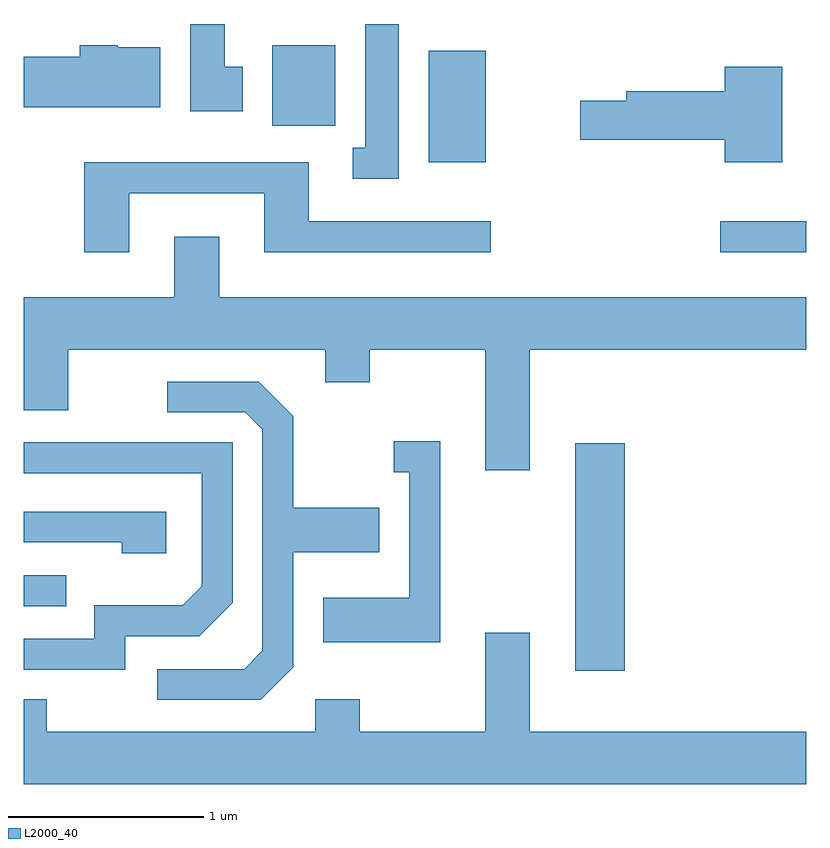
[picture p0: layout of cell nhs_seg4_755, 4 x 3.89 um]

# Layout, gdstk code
import gdstk
lib = gdstk.Library(unit=1e-6, precision=1e-09)
def R(c, l, rs):  # rectangles x0, y0, x1, y1
    for r in rs: c.add(gdstk.rectangle(r[:2], r[2:], *l))
def P(c, l, *ps):  # polygons
    for p in ps: c.add(gdstk.Polygon(p, *l))
L2000_40 = (2000, 40)

nhs_seg4_755 = lib.new_cell('nhs_seg4_755')
R(nhs_seg4_755, L2000_40, [(210.431,1268.676,210.684,1269.839), (207.611,1269.006,207.828,1269.164), (211.173,1270.816,211.611,1270.974), (209.681,1271.276,209.974,1271.844), (208.881,1271.461,209.204,1271.874)])
P(nhs_seg4_755, L2000_40, [(208.729,1271.764),(208.639,1271.764),(208.639,1271.982),(208.461,1271.982),(208.461,1271.536),(208.729,1271.536)],
  [(209.529,1271.982),(209.356,1271.982),(209.356,1271.349),(209.293,1271.349),(209.293,1271.191),(209.529,1271.191)],
  [(208.309,1271.864),(208.09,1271.864),(208.09,1271.874),(207.896,1271.874),(207.896,1271.814),(207.611,1271.814),(207.611,1271.556),(208.309,1271.556)],
  [(211.489,1271.764),(211.196,1271.764),(211.196,1271.639),(210.691,1271.639),(210.691,1271.589),(210.456,1271.589),(210.456,1271.391),(211.196,1271.391),(211.196,1271.276),(211.489,1271.276)],
  [(208.149,1271.116),(208.841,1271.116),(208.841,1270.816),(209.998,1270.816),(209.998,1270.974),(209.069,1270.974),(209.069,1271.274),(207.921,1271.274),(207.921,1270.816),(208.149,1270.816)],
  [(210.199,1270.316),(211.611,1270.316),(211.611,1270.584),(208.609,1270.584),(208.609,1270.894),(208.381,1270.894),(208.381,1270.584),(207.611,1270.584),(207.611,1270.006),(207.839,1270.006),(207.839,1270.316),(209.151,1270.316),(209.151,1270.151),(209.379,1270.151),(209.379,1270.316),(209.971,1270.316),(209.971,1269.701),(210.199,1269.701)],
  [(208.989,1268.694),(208.989,1269.281),(209.429,1269.281),(209.429,1269.509),(208.989,1269.509),(208.989,1269.977),(208.812,1270.154),(208.343,1270.154),(208.343,1269.996),(208.744,1269.996),(208.831,1269.909),(208.831,1268.777),(208.739,1268.684),(208.293,1268.684),(208.293,1268.526),(208.822,1268.526)],
  [(209.739,1269.849),(209.503,1269.849),(209.503,1269.691),(209.581,1269.691),(209.581,1269.049),(209.141,1269.049),(209.141,1268.821),(209.739,1268.821)],
  [(208.129,1268.851),(208.507,1268.851),(208.679,1269.024),(208.679,1269.844),(207.611,1269.844),(207.611,1269.686),(208.521,1269.686),(208.521,1269.107),(208.424,1269.009),(207.971,1269.009),(207.971,1268.839),(207.611,1268.839),(207.611,1268.681),(208.129,1268.681)],
  [(208.339,1269.489),(207.611,1269.489),(207.611,1269.331),(208.111,1269.331),(208.111,1269.276),(208.339,1269.276)],
  [(211.611,1268.364),(210.199,1268.364),(210.199,1268.869),(209.971,1268.869),(209.971,1268.364),(209.329,1268.364),(209.329,1268.529),(209.101,1268.529),(209.101,1268.364),(207.729,1268.364),(207.729,1268.529),(207.611,1268.529),(207.611,1268.096),(211.611,1268.096)])

lib.write_gds('nhs_seg4_755.gds')
